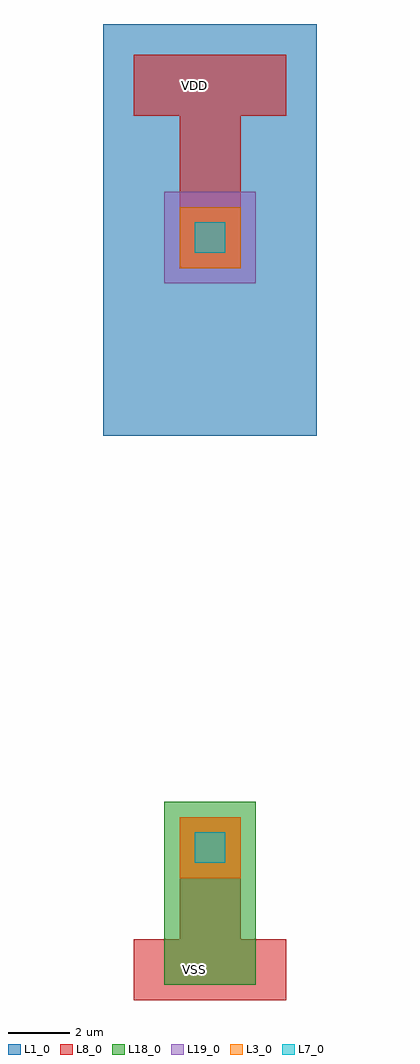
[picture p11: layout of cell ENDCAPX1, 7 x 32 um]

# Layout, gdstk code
import gdstk
lib = gdstk.Library(unit=1e-6, precision=1e-09)
def R(c, l, rs):  # rectangles x0, y0, x1, y1
    for r in rs: c.add(gdstk.rectangle(r[:2], r[2:], *l))
L1_0 = (1, 0)
L3_0 = (3, 0)
L7_0 = (7, 0)
L8_0 = (8, 0)
L18_0 = (18, 0)
L19_0 = (19, 0)

endcapx1 = lib.new_cell('ENDCAPX1')
R(endcapx1, L1_0, [(-1.5,17.5,5.5,31)])
R(endcapx1, L3_0, [(1,3,3,5), (1,23,3,25)])
R(endcapx1, L7_0, [(1.5,3.5,2.5,4.5), (1.5,23.5,2.5,24.5)])
R(endcapx1, L8_0, [(-0.5,-1,4.5,1), (1,-1,3,5), (1,23,3,30), (-0.5,28,4.5,30)])
R(endcapx1, L18_0, [(0.5,-0.5,3.5,5.5)])
R(endcapx1, L19_0, [(0.5,22.5,3.5,25.5)])
endcapx1.add(gdstk.Label('VDD', (1.5,29), layer=8, texttype=0))
endcapx1.add(gdstk.Label('VSS', (1.5,0), layer=8, texttype=0))

lib.write_gds('ENDCAPX1.gds')
